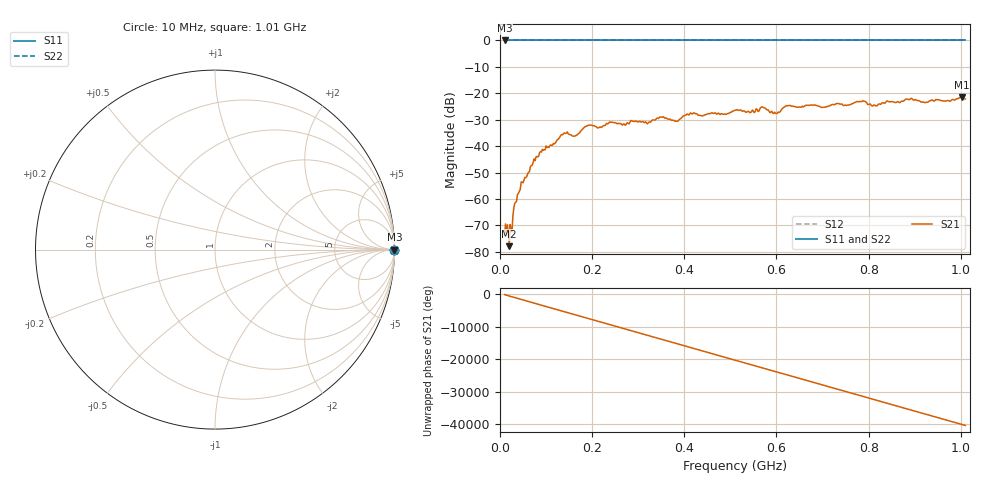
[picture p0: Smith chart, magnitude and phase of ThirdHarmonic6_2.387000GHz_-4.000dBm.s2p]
! 8/17/2025 3:50:33 AM
! C:\ANRITSUVNA\TEMP\TEMP.S2P
! CHANNEL.1
! TR.MEASUREMENT
! RAW.DATA
! RF.CORRECTION.OFF
! AVERAGING.OFF
! IF.BANDWIDTH: 5KHZ
! SWEEPTYPE:  FREQ.SWEEP(Linear)
! Reference Plane Port Info
! PORT:  PORT1  PORT2
! DISTANCE:  0  m  0  m
! TIME:  0  s  0  s
! PHASE.OFFSET:  0  deg.  0  deg.
! LOSS:  0  dB  0  dB
! REF.LOSS:  0  dB  0  dB
! REF.FREQ:  0  Hz  0  Hz
! Power Info
! POWER:  -20  dBm  -20  dBm
! EFF.POWER:  -20  dBm  -20  dBm
! SOURCE.ATTEN:  0  dB  0  dB
! TEST.ATTEN:  0  dB  0  dB
# GHZ S RI R 50.0
! FREQ.GHZ  S11RE  S11IM  S21RE  S21IM  S12RE  S12IM  S22RE  S22IM
!; PortSelection: Port_12
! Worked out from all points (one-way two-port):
!   501 points, 10 MHz to 1.01 GHz, reference 50 ohm
!   highest |S21| = -21.45 dB at 1.002 GHz (marker M1); lowest = -77.9 dB at 20 MHz (marker M2)
!   lowest |S11| = 0.0 dB at 10 MHz (marker M3)
!   |S11| at or under -10 dB: nowhere
!   |S22| runs from 0.0 to 0.0 dB; largest |S21 - S12| = 1.1
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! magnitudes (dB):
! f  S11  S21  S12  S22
! 10 MHz  0.0  -73.9  0.0  0.0
! 20 MHz  0.0  -77.9  0.0  0.0
! 24 MHz  0.0  -71.7  0.0  0.0
! 32 MHz  0.0  -61.7  0.0  0.0
! 42 MHz  0.0  -57.1  0.0  0.0
! 76 MHz  0.0  -45.5  0.0  0.0
! 136 MHz  0.0  -35.7  0.0  0.0
! 162 MHz  0.0  -36.2  0.0  0.0
! 178 MHz  0.0  -33.8  0.0  0.0
! 344 MHz  0.0  -29.5  0.0  0.0
! 384 MHz  0.0  -30.6  0.0  0.0
! 416 MHz  0.0  -27.8  0.0  0.0
! 510 MHz  0.0  -26.4  0.0  0.0
! 570 MHz  0.0  -25.2  0.0  0.0
! 598 MHz  0.0  -27.6  0.0  0.0
! 624 MHz  0.0  -24.7  0.0  0.0
! 678 MHz  0.0  -24.5  0.0  0.0
! 788 MHz  0.0  -22.8  0.0  0.0
! 814 MHz  0.0  -24.6  0.0  0.0
! 844 MHz  0.0  -23.2  0.0  0.0
! 1.002 GHz  0.0  -21.5  0.0  0.0
! 1.01 GHz  0.0  -22.2  0.0  0.0
